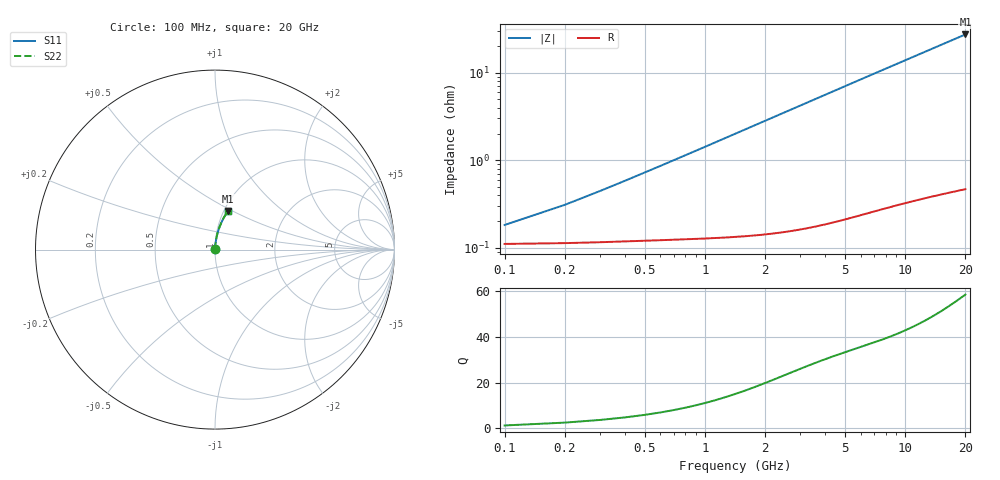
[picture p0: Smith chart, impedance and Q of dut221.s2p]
! Touchstone file exported from HFSS 2026.1.0
!  File:  C:/ffzhzh/LocalFiles/Ansys_Project_Files/temp_train_TMRDL_221_1782984326_45328.aedt
!  Generated:  05:26:39 PM Jul  2, 2026
!  Design:  TMRDL
!  Project:  temp_train_TMRDL_221_1782984326_45328
! Variables:
!  h_bsmrdl = 2um
!  h_ox = 20um
!  h_rdl = 5um
!  h_sub = 80um
!  h_tmrdl = 4.53um
!  h_tsv = 80um
!  h_via = 3um
!  l_bsmrdl = 300um
!  l_sub = 569.98um
!  l_tmrdl = 169.98um
!  m_sub = 200um
!  pitch = 58.98um
!  r_tsv = 6um
!  s_tmrdl = 10um
!  w_bsmrdl = 18um
!  w_sub = 500um
!  w_tmrdl = 13.56um
!  x_tsv_center1 = 176.76um
!  x_tsv_center2 = 494.76um
!  x_tsv_center3 = 678.3um
!  x_tsv_center4 = 996.3um
!  x_tsv_center5 = 1179.84um
!  x_tsv_center6 = 1497.84um
# GHz S MA R 50.000000
! Terminal data exported
! Port[1] = TM_RDL1_1_T1
! Port[2] = TM_RDL1_1_T2
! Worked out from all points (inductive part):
!   200 points, 100 MHz to 20 GHz, reference 50 ohm
!   read as one part in series: L = 228 pH near 300 MHz
!   highest Q = 58.5 at 20 GHz (marker M1), where L = 218 pH
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0.1  0.001669 48.5  0.9989 -0.1  0.9989 -0.1  0.001669 48.5
! Gamma 0 0 0 0
! Port Impedance 50 0 50 0
0.2  0.002735 65.4  0.9989 -0.2  0.9989 -0.2  0.002735 65.4
0.3  0.003892 72.5  0.9988 -0.3  0.9988 -0.3  0.003892 72.5
0.4  0.005072 76.2  0.9988 -0.4  0.9988 -0.4  0.005072 76.2
0.5  0.006261 78.5  0.9988 -0.5  0.9988 -0.5  0.006261 78.5
0.7  0.008653 81.2  0.9987 -0.6  0.9987 -0.6  0.008653 81.2
0.8  0.009852 82.0  0.9987 -0.7  0.9987 -0.7  0.009852 82.0
1  0.01226 83.1  0.9986 -0.9  0.9986 -0.9  0.01226 83.1
1.2  0.01467 83.8  0.9986 -1.1  0.9986 -1.1  0.01467 83.8
1.4  0.01708 84.3  0.9985 -1.3  0.9985 -1.3  0.01708 84.3
1.7  0.0207 84.7  0.9984 -1.6  0.9984 -1.6  0.0207 84.7
2  0.02431 84.8  0.9983 -1.8  0.9983 -1.8  0.02431 84.8
2.7  0.03273 84.8  0.9979 -2.5  0.9979 -2.5  0.03273 84.8
3.5  0.0423 84.5  0.9974 -3.2  0.9974 -3.2  0.0423 84.5
4.2  0.05063 84.0  0.9968 -3.8  0.9968 -3.8  0.05063 84.0
5  0.0601 83.4  0.9961 -4.6  0.9961 -4.6  0.0601 83.4
6.8  0.08119 82.0  0.9942 -6.2  0.9942 -6.2  0.08119 82.0
8.3  0.09857 80.8  0.9923 -7.5  0.9923 -7.5  0.09857 80.8
10.1  0.1192 79.4  0.9897 -9.1  0.9897 -9.1  0.1192 79.4
13.4  0.1563 76.6  0.984 -12.0  0.984 -12.0  0.1563 76.6
16.7  0.1925 73.9  0.9771 -14.8  0.9771 -14.8  0.1925 73.9
20  0.2277 71.2  0.9692 -17.6  0.9692 -17.6  0.2277 71.2
